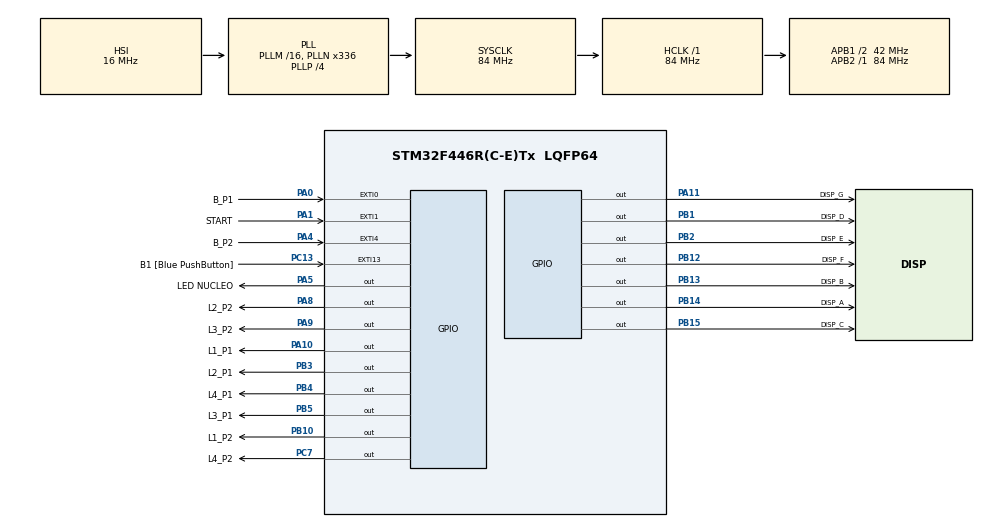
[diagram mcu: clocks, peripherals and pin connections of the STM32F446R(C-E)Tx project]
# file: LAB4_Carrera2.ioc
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Mcu.Family=STM32F4
Mcu.Name=STM32F446R(C-E)Tx
Mcu.Package=LQFP64
NVIC.EXTI0_IRQn=true\:0\:0\:false\:false\:true\:true\:true\:true
NVIC.EXTI1_IRQn=true\:0\:0\:false\:false\:true\:true\:true\:true
NVIC.EXTI4_IRQn=true\:0\:0\:false\:false\:true\:true\:true\:true
NVIC.PriorityGroup=NVIC_PRIORITYGROUP_0
PA0-WKUP.GPIO_Label=B_P1
PA0-WKUP.GPIO_ModeDefaultEXTI=GPIO_MODE_IT_FALLING
PA0-WKUP.GPIO_PuPd=GPIO_PULLUP
PA0-WKUP.Signal=GPXTI0
PA1.GPIO_Label=START
PA1.GPIO_ModeDefaultEXTI=GPIO_MODE_IT_FALLING
PA1.GPIO_PuPd=GPIO_PULLUP
PA1.Signal=GPXTI1
PA10.GPIO_Label=L1_P1
PA10.Signal=GPIO_Output
PA11.GPIO_Label=DISP_G
PA11.Signal=GPIO_Output
PA13.GPIO_Label=TMS
PA13.Mode=Serial_Wire
PA13.Signal=SYS_JTMS-SWDIO
PA14.GPIO_Label=TCK
PA14.Mode=Serial_Wire
PA14.Signal=SYS_JTCK-SWCLK
PA2.GPIO_Label=USART_TX
PA2.Signal=USART2_TX
PA3.GPIO_Label=USART_RX
PA3.Signal=USART2_RX
PA4.GPIO_Label=B_P2
PA4.GPIO_ModeDefaultEXTI=GPIO_MODE_IT_FALLING
PA4.GPIO_PuPd=GPIO_PULLUP
PA4.Signal=GPXTI4
PA5.GPIO_Label=LED NUCLEO
PA5.Signal=GPIO_Output
PA8.GPIO_Label=L2_P2
PA8.Signal=GPIO_Output
PA9.GPIO_Label=L3_P2
PA9.Signal=GPIO_Output
PB1.GPIO_Label=DISP_D
PB1.Signal=GPIO_Output
PB10.GPIO_Label=L1_P2
PB10.Signal=GPIO_Output
PB12.GPIO_Label=DISP_F
PB12.Signal=GPIO_Output
PB13.GPIO_Label=DISP_B
PB13.Signal=GPIO_Output
PB14.GPIO_Label=DISP_A
PB14.Signal=GPIO_Output
PB15.GPIO_Label=DISP_C
PB15.Signal=GPIO_Output
PB2.GPIO_Label=DISP_E
PB2.Signal=GPIO_Output
PB3.GPIO_Label=L2_P1
PB3.Signal=GPIO_Output
PB4.GPIO_Label=L4_P1
PB4.Signal=GPIO_Output
PB5.GPIO_Label=L3_P1
PB5.Signal=GPIO_Output
PC13.GPIO_Label=B1 [Blue PushButton]
PC13.GPIO_ModeDefaultEXTI=GPIO_MODE_IT_FALLING
PC13.Signal=GPXTI13
PC14-OSC32_IN.Signal=RCC_OSC32_IN
PC15-OSC32_OUT.Signal=RCC_OSC32_OUT
PC7.GPIO_Label=L4_P2
PC7.Signal=GPIO_Output
PH0-OSC_IN.Signal=RCC_OSC_IN
PH1-OSC_OUT.Signal=RCC_OSC_OUT
ProjectManager.HeapSize=0x200
ProjectManager.StackSize=0x400
ProjectManager.TargetToolchain=STM32CubeIDE
RCC.AHBFreq_Value=84000000
RCC.APB1CLKDivider=RCC_HCLK_DIV2
RCC.APB1Freq_Value=42000000
RCC.APB1TimFreq_Value=84000000
RCC.APB2Freq_Value=84000000
RCC.APB2TimFreq_Value=84000000
RCC.CortexFreq_Value=84000000
RCC.FLatency-AdvancedSettings=FLASH_LATENCY_2
RCC.HCLKFreq_Value=84000000
RCC.HSE_VALUE=8000000
RCC.HSI_VALUE=16000000
RCC.LSE_VALUE=32768
RCC.PLLN=336
RCC.PLLP=RCC_PLLP_DIV4
RCC.SYSCLKFreq_VALUE=84000000
RCC.SYSCLKSource=RCC_SYSCLKSOURCE_PLLCLK
RCC.USBFreq_Value=168000000
RCC.VCOOutputFreq_Value=336000000
board=NUCLEO-F446RE

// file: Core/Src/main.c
/* USER CODE BEGIN Header */
/**
  ******************************************************************************
  * @file           : main.c
  * @brief          : Main program body
  ******************************************************************************
  * @attention
  *
  * Copyright (c) 2026 STMicroelectronics.
  * All rights reserved.
  *
  * This software is licensed under terms that can be found in the LICENSE file
  * in the root directory of this software component.
  * If no LICENSE file comes with this software, it is provided AS-IS.
  *
  ******************************************************************************
  */
/* USER CODE END Header */
#include "main.h"

/* USER CODE BEGIN PV */

// --- Estado del juego ---
volatile uint8_t contadorJ1 = 0;
volatile uint8_t contadorJ2 = 0;
volatile uint8_t carreraActiva = 0;   // 1 = jugadores pueden presionar
volatile uint8_t juegoTerminado = 0;  // 1 = ya hay ganador
volatile uint8_t ganador = 0;         // 0 = nadie, 1 = J1, 2 = J2
volatile uint8_t banderaInicio = 0;   // 1 = el main debe correr la cuenta regresiva

#define META 4  // LEDs necesarios para ganar

// Anti-rebote
volatile uint32_t lastTickJ1 = 0;
volatile uint32_t lastTickJ2 = 0;
volatile uint32_t lastTickStart = 0;
#define DEBOUNCE_MS 200

// Polaridad del display
#define SEGMENTO_ENCENDIDO 0

/* USER CODE END PV */

void SystemClock_Config(void);
static void MX_GPIO_Init(void);

/* USER CODE BEGIN 0 */

// Enciende/apaga un segmento respetando la polaridad del display
void escribirSegmento(GPIO_TypeDef *puerto, uint16_t pin, uint8_t encendido)
{
    GPIO_PinState estado = (encendido == SEGMENTO_ENCENDIDO) ? GPIO_PIN_SET : GPIO_PIN_RESET;
    HAL_GPIO_WritePin(puerto, pin, estado);
}

// Patrones para dígitos 0-9: {a,b,c,d,e,f,g}, 1 = segmento encendido
const uint8_t patrones[10][7] = {
    {1,1,1,1,1,1,0}, // 0
    {0,1,1,0,0,0,0}, // 1
    {1,1,0,1,1,0,1}, // 2
    {1,1,1,1,0,0,1}, // 3
    {0,1,1,0,0,1,1}, // 4
    {1,0,1,1,0,1,1}, // 5
    {1,0,1,1,1,1,1}, // 6
    {1,1,1,0,0,0,0}, // 7
    {1,1,1,1,1,1,1}, // 8
    {1,1,1,1,0,1,1}, // 9
};

void mostrarDigito(uint8_t digito)
{
    if (digito > 9) return;
    escribirSegmento(DISP_A_GPIO_Port, DISP_A_Pin, patrones[digito][0]);
    escribirSegmento(DISP_B_GPIO_Port, DISP_B_Pin, patrones[digito][1]);
    escribirSegmento(DISP_C_GPIO_Port, DISP_C_Pin, patrones[digito][2]);
    escribirSegmento(DISP_D_GPIO_Port, DISP_D_Pin, patrones[digito][3]);
    escribirSegmento(DISP_E_GPIO_Port, DISP_E_Pin, patrones[digito][4]);
    escribirSegmento(DISP_F_GPIO_Port, DISP_F_Pin, patrones[digito][5]);
    escribirSegmento(DISP_G_GPIO_Port, DISP_G_Pin, patrones[digito][6]);
}

void apagarDisplay(void)
{
    escribirSegmento(DISP_A_GPIO_Port, DISP_A_Pin, 0);
    escribirSegmento(DISP_B_GPIO_Port, DISP_B_Pin, 0);
    escribirSegmento(DISP_C_GPIO_Port, DISP_C_Pin, 0);
    escribirSegmento(DISP_D_GPIO_Port, DISP_D_Pin, 0);
    escribirSegmento(DISP_E_GPIO_Port, DISP_E_Pin, 0);
    escribirSegmento(DISP_F_GPIO_Port, DISP_F_Pin, 0);
    escribirSegmento(DISP_G_GPIO_Port, DISP_G_Pin, 0);
}

// Enciende N leds del jugador 1 (de un total de 4), apaga el resto
void actualizarLedsJ1(uint8_t n)
{
    HAL_GPIO_WritePin(L1_P1_GPIO_Port, L1_P1_Pin, (n >= 1) ? GPIO_PIN_SET : GPIO_PIN_RESET);
    HAL_GPIO_WritePin(L2_P1_GPIO_Port, L2_P1_Pin, (n >= 2) ? GPIO_PIN_SET : GPIO_PIN_RESET);
    HAL_GPIO_WritePin(L3_P1_GPIO_Port, L3_P1_Pin, (n >= 3) ? GPIO_PIN_SET : GPIO_PIN_RESET);
    HAL_GPIO_WritePin(L4_P1_GPIO_Port, L4_P1_Pin, (n >= 4) ? GPIO_PIN_SET : GPIO_PIN_RESET);
}

void actualizarLedsJ2(uint8_t n)
{
    HAL_GPIO_WritePin(L1_P2_GPIO_Port, L1_P2_Pin, (n >= 1) ? GPIO_PIN_SET : GPIO_PIN_RESET);
    HAL_GPIO_WritePin(L2_P2_GPIO_Port, L2_P2_Pin, (n >= 2) ? GPIO_PIN_SET : GPIO_PIN_RESET);
    HAL_GPIO_WritePin(L3_P2_GPIO_Port, L3_P2_Pin, (n >= 3) ? GPIO_PIN_SET : GPIO_PIN_RESET);
    HAL_GPIO_WritePin(L4_P2_GPIO_Port, L4_P2_Pin, (n >= 4) ? GPIO_PIN_SET : GPIO_PIN_RESET);
}

void revisarGanador(void)
{
    if (juegoTerminado) return;

    if (contadorJ1 >= META) {
        ganador = 1;
        juegoTerminado = 1;
        carreraActiva = 0;
        actualizarLedsJ1(4);
        actualizarLedsJ2(0);
        mostrarDigito(1);
    } else if (contadorJ2 >= META) {
        ganador = 2;
        juegoTerminado = 1;
        carreraActiva = 0;
        actualizarLedsJ2(4);
        actualizarLedsJ1(0);
        mostrarDigito(2);
    }
}

// Cuenta regresiva de 5 a 0.
void iniciarCuentaRegresiva(void)
{
    carreraActiva = 0;
    juegoTerminado = 0;
    ganador = 0;
    contadorJ1 = 0;
    contadorJ2 = 0;
    actualizarLedsJ1(0);
    actualizarLedsJ2(0);

    for (int8_t n = 5; n >= 0; n--) {
        mostrarDigito(n);
        HAL_Delay(1000);
    }

    apagarDisplay();
    carreraActiva = 1;
}

void HAL_GPIO_EXTI_Callback(uint16_t GPIO_Pin)
{
    uint32_t ahora = HAL_GetTick();

    if (GPIO_Pin == B_P1_Pin) {
        if ((ahora - lastTickJ1) > DEBOUNCE_MS) {
            lastTickJ1 = ahora;
            if (carreraActiva && !juegoTerminado) {
                contadorJ1++;
                actualizarLedsJ1(contadorJ1);
                revisarGanador();
            }
        }
    }
    else if (GPIO_Pin == B_P2_Pin) {
        if ((ahora - lastTickJ2) > DEBOUNCE_MS) {
            lastTickJ2 = ahora;
            if (carreraActiva && !juegoTerminado) {
                contadorJ2++;
                actualizarLedsJ2(contadorJ2);
                revisarGanador();
            }
        }
    }
    else if (GPIO_Pin == START_Pin) {
        if ((ahora - lastTickStart) > DEBOUNCE_MS) {
            lastTickStart = ahora;
            if (!carreraActiva) {
                banderaInicio = 1; // el main se encarga de correr la cuenta regresiva
            }
        }
    }
}

/* USER CODE END 0 */

int main(void)
{

  /* MCU Configuration--------------------------------------------------------*/

  /* Reset of all peripherals, Initializes the Flash interface and the Systick. */
  HAL_Init();

  /* Configure the system clock */
  SystemClock_Config();

  /* Initialize all configured peripherals */
  MX_GPIO_Init();
  /* USER CODE BEGIN 2 */

  apagarDisplay();

  /* USER CODE END 2 */

  /* Infinite loop */
  /* USER CODE BEGIN WHILE */
  while (1)
  {
      if (banderaInicio == 1) {
          banderaInicio = 0;
          iniciarCuentaRegresiva();
      }

    /* USER CODE END WHILE */

  }
}

void SystemClock_Config(void)
{
  RCC_OscInitTypeDef RCC_OscInitStruct = {0};
  RCC_ClkInitTypeDef RCC_ClkInitStruct = {0};

  /** Configure the main internal regulator output voltage
  */
  __HAL_RCC_PWR_CLK_ENABLE();
  __HAL_PWR_VOLTAGESCALING_CONFIG(PWR_REGULATOR_VOLTAGE_SCALE3);

  /** Initializes the RCC Oscillators according to the specified parameters
  * in the RCC_OscInitTypeDef structure.
  */
  RCC_OscInitStruct.OscillatorType = RCC_OSCILLATORTYPE_HSI;
  RCC_OscInitStruct.HSIState = RCC_HSI_ON;
  RCC_OscInitStruct.HSICalibrationValue = RCC_HSICALIBRATION_DEFAULT;
  RCC_OscInitStruct.PLL.PLLState = RCC_PLL_ON;
  RCC_OscInitStruct.PLL.PLLSource = RCC_PLLSOURCE_HSI;
  RCC_OscInitStruct.PLL.PLLM = 16;
  RCC_OscInitStruct.PLL.PLLN = 336;
  RCC_OscInitStruct.PLL.PLLP = RCC_PLLP_DIV4;
  RCC_OscInitStruct.PLL.PLLQ = 2;
  RCC_OscInitStruct.PLL.PLLR = 2;
  if (HAL_RCC_OscConfig(&RCC_OscInitStruct) != HAL_OK)
  {
    Error_Handler();
  }

  /** Initializes the CPU, AHB and APB buses clocks
  */
  RCC_ClkInitStruct.ClockType = RCC_CLOCKTYPE_HCLK|RCC_CLOCKTYPE_SYSCLK
                              |RCC_CLOCKTYPE_PCLK1|RCC_CLOCKTYPE_PCLK2;
  RCC_ClkInitStruct.SYSCLKSource = RCC_SYSCLKSOURCE_PLLCLK;
  RCC_ClkInitStruct.AHBCLKDivider = RCC_SYSCLK_DIV1;
  RCC_ClkInitStruct.APB1CLKDivider = RCC_HCLK_DIV2;
  RCC_ClkInitStruct.APB2CLKDivider = RCC_HCLK_DIV1;

  if (HAL_RCC_ClockConfig(&RCC_ClkInitStruct, FLASH_LATENCY_2) != HAL_OK)
  {
    Error_Handler();
  }
}

static void MX_GPIO_Init(void)
{
  GPIO_InitTypeDef GPIO_InitStruct = {0};

  /* GPIO Ports Clock Enable */
  __HAL_RCC_GPIOC_CLK_ENABLE();
  __HAL_RCC_GPIOH_CLK_ENABLE();
  __HAL_RCC_GPIOA_CLK_ENABLE();
  __HAL_RCC_GPIOB_CLK_ENABLE();

  /*Configure GPIO pin Output Level */
  HAL_GPIO_WritePin(GPIOA, LED_NUCLEO_Pin|L2_P2_Pin|L3_P2_Pin|L1_P1_Pin
                          |DISP_G_Pin, GPIO_PIN_RESET);

  /*Configure GPIO pin Output Level */
  HAL_GPIO_WritePin(GPIOB, DISP_D_Pin|DISP_E_Pin|L1_P2_Pin|DISP_F_Pin
                          |DISP_B_Pin|DISP_A_Pin|DISP_C_Pin|L2_P1_Pin
                          |L4_P1_Pin|L3_P1_Pin, GPIO_PIN_RESET);

  /*Configure GPIO pin Output Level */
  HAL_GPIO_WritePin(L4_P2_GPIO_Port, L4_P2_Pin, GPIO_PIN_RESET);

  /*Configure GPIO pin : B1_Pin */
  GPIO_InitStruct.Pin = B1_Pin;
  GPIO_InitStruct.Mode = GPIO_MODE_IT_FALLING;
  GPIO_InitStruct.Pull = GPIO_NOPULL;
  HAL_GPIO_Init(B1_GPIO_Port, &GPIO_InitStruct);

  /*Configure GPIO pins : B_P1_Pin START_Pin B_P2_Pin */
  GPIO_InitStruct.Pin = B_P1_Pin|START_Pin|B_P2_Pin;
  GPIO_InitStruct.Mode = GPIO_MODE_IT_FALLING;
  GPIO_InitStruct.Pull = GPIO_PULLUP;
  HAL_GPIO_Init(GPIOA, &GPIO_InitStruct);

  /*Configure GPIO pins : USART_TX_Pin USART_RX_Pin */
  GPIO_InitStruct.Pin = USART_TX_Pin|USART_RX_Pin;
  GPIO_InitStruct.Mode = GPIO_MODE_AF_PP;
  GPIO_InitStruct.Pull = GPIO_NOPULL;
  GPIO_InitStruct.Speed = GPIO_SPEED_FREQ_VERY_HIGH;
  GPIO_InitStruct.Alternate = GPIO_AF7_USART2;
  HAL_GPIO_Init(GPIOA, &GPIO_InitStruct);

  /*Configure GPIO pins : LED_NUCLEO_Pin L2_P2_Pin L3_P2_Pin L1_P1_Pin
                           DISP_G_Pin */
  GPIO_InitStruct.Pin = LED_NUCLEO_Pin|L2_P2_Pin|L3_P2_Pin|L1_P1_Pin
                          |DISP_G_Pin;
  GPIO_InitStruct.Mode = GPIO_MODE_OUTPUT_PP;
  GPIO_InitStruct.Pull = GPIO_NOPULL;
  GPIO_InitStruct.Speed = GPIO_SPEED_FREQ_LOW;
  HAL_GPIO_Init(GPIOA, &GPIO_InitStruct);

  /*Configure GPIO pins : DISP_D_Pin DISP_E_Pin L1_P2_Pin DISP_F_Pin
                           DISP_B_Pin DISP_A_Pin DISP_C_Pin L2_P1_Pin
                           L4_P1_Pin L3_P1_Pin */
  GPIO_InitStruct.Pin = DISP_D_Pin|DISP_E_Pin|L1_P2_Pin|DISP_F_Pin
                          |DISP_B_Pin|DISP_A_Pin|DISP_C_Pin|L2_P1_Pin
                          |L4_P1_Pin|L3_P1_Pin;
  GPIO_InitStruct.Mode = GPIO_MODE_OUTPUT_PP;
  GPIO_InitStruct.Pull = GPIO_NOPULL;
  GPIO_InitStruct.Speed = GPIO_SPEED_FREQ_LOW;
  HAL_GPIO_Init(GPIOB, &GPIO_InitStruct);

  /*Configure GPIO pin : L4_P2_Pin */
  GPIO_InitStruct.Pin = L4_P2_Pin;
  GPIO_InitStruct.Mode = GPIO_MODE_OUTPUT_PP;
  GPIO_InitStruct.Pull = GPIO_NOPULL;
  GPIO_InitStruct.Speed = GPIO_SPEED_FREQ_LOW;
  HAL_GPIO_Init(L4_P2_GPIO_Port, &GPIO_InitStruct);

  /* EXTI interrupt init*/
  HAL_NVIC_SetPriority(EXTI0_IRQn, 0, 0);
  HAL_NVIC_EnableIRQ(EXTI0_IRQn);

  HAL_NVIC_SetPriority(EXTI1_IRQn, 0, 0);
  HAL_NVIC_EnableIRQ(EXTI1_IRQn);

  HAL_NVIC_SetPriority(EXTI4_IRQn, 0, 0);
  HAL_NVIC_EnableIRQ(EXTI4_IRQn);

}

void Error_Handler(void)
{
  __disable_irq();
  while (1)
  {
  }
}
